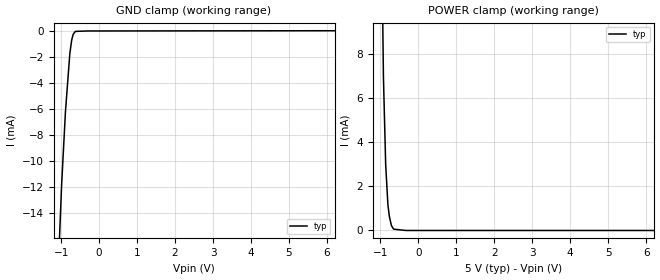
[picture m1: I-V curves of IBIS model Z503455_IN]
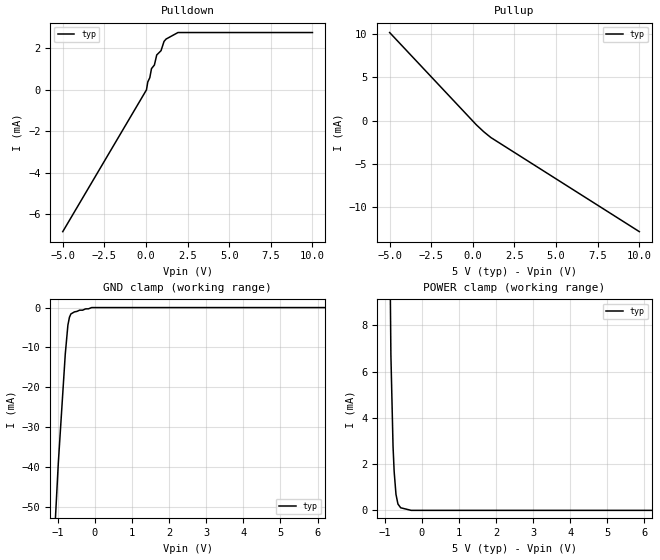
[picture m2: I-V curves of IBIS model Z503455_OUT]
| YOU ARE ONLY AUTHORIZED TO USE THIS SOFTWARE
| ACCORDING TO LICENSOR'S LICENSE RESTRICTIONS.
[IBIS Ver] 3.1
[File Name] mc14001bd.ibs
[File Rev] 2.0
[Source] Measured and created by ICX Technology
[Date] Friday 7/14/00 9:07:50 AM
[Copyright]
| (C) COPYRIGHT 1993-2000
| MENTOR GRAPHICS CORPORATION
| ICX STANDARD LIBRARY, ICX PROJECT MODELING,
| ICX CUSTOM MODELING, ICX VENDOR MODEL
| ALL RIGHTS RESERVED.
| THE FOLLOWING ARE TRADEMARKS OR SERVICE MARKS OF
| MENTOR GRAPHICS CORPORATION:ICX (R), ICX STANDARD
| LIBRARY(R), ICX PROJECT MODELING(R), ICX CUSTOM
| MODELING(R), qualityIBIS(TM), MODELVIEWER(TM),
| AND MODELEDITOR(TM)
| ALL COPIES OF SOFTWARE, INCLUDING BUT NOT LIMITED TO
| ANY MODIFICATIONS, ENHANCEMENTS OR DERIVATIVE WORKS,
| MUST CONTAIN ALL MENTOR GRAPHICS CORPORATION'S
| NOTICES AND LEGENDS, INCLUDING THOSE EMBEDDED IN
| SOFTWARE AND THOSE AFFIXED TO SOFTWARE MEDIUM
| AND CONTAINER, AS RECEIVED FROM MENTOR GRAPHICS
| CORPORATION.
|  ZAP Model Builder 2.7
[Component] MC14001BD
[Manufacturer] OnSemiconductor
[Package]
| variable   typ   min   max
R_pkg  .21ohms NA NA
L_pkg  4.543nH NA NA
C_pkg  1.8pF NA NA
[Pin] signal_name  model_name  R_pin  L_pin C_pin
1 IN1A Z503455_IN .22 6.757n 2.434p
2 IN2A Z503455_IN .212 4.757n 1.941p
3 OUTA Z503455_OUT .204 3.257n 1.448p
4 OUTB Z503455_OUT .196 2.257n .955p
5 IN1B Z503455_IN .204 3.257n 1.448p
6 IN2B Z503455_IN .212 4.757n 1.941p
7 VSS GND .22 6.757n 2.434p
8 IN1C Z503455_IN .22 6.757n 2.434p
9 IN2C Z503455_IN .212 4.757n 1.941p
10 OUTC Z503455_OUT .204 3.257n 1.448p
11 OUTD Z503455_OUT .196 2.257n .955p
12 IN1D Z503455_IN .204 3.257n 1.448p
13 IN2D Z503455_IN .212 4.757n 1.941p
14 VDD POWER .22 6.757n 2.434p
| Models and submodels in the file (2): Z503455_IN (Input), Z503455_OUT (Output)
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| (C) COPYRIGHT 1993-2000
| MENTOR GRAPHICS CORPORATION
| ICX STANDARD LIBRARY, ICX PROJECT MODELING,
| ICX CUSTOM MODELING, ICX VENDOR MODEL
| ALL RIGHTS RESERVED.
| THE FOLLOWING ARE TRADEMARKS OR SERVICE MARKS OF
| MENTOR GRAPHICS CORPORATION:ICX (R), ICX STANDARD
| LIBRARY(R), ICX PROJECT MODELING(R), ICX CUSTOM
| MODELING(R), qualityIBIS(TM), MODELVIEWER(TM),
| AND MODELEDITOR(TM)
| ALL COPIES OF SOFTWARE, INCLUDING BUT NOT LIMITED TO
| ANY MODIFICATIONS, ENHANCEMENTS OR DERIVATIVE WORKS,
| MUST CONTAIN ALL MENTOR GRAPHICS CORPORATION'S
| NOTICES AND LEGENDS, INCLUDING THOSE EMBEDDED IN
| SOFTWARE AND THOSE AFFIXED TO SOFTWARE MEDIUM
| AND CONTAINER, AS RECEIVED FROM MENTOR GRAPHICS
| CORPORATION.
| Model Application Version 1.89 2/18/99.
[Model] Z503455_IN
Model_type Input
Vinl = 1.500V
Vinh = 3.500V
C_comp 4.000pF NA NA
| variable typ   min   max
[Voltage Range] 5.000V NA NA
[GND Clamp Reference] 0.000V NA NA
[POWER Clamp Reference] 5.000V NA NA
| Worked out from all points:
|   GND clamp passes 1 mA (typ) near -0.74 V on its own axis
|   POWER clamp passes 1 mA (typ) near -0.79 V on its own axis
[GND Clamp]
-5V       -544.7mA   NA         NA
-1.226V   -33.63mA   NA         NA
-1.079V   -18.49mA   NA         NA
-986.3mV  -11.78mA   NA         NA
-886mV    -6.2mA     NA         NA
-771.4mV  -1.768mA   NA         NA
-722.7mV  -722.4uA   NA         NA
-683.6mV  -278.3uA   NA         NA
-625.3mV  -44.7uA    NA         NA
-312.6mV  -12.34uA   NA         NA
10V       19.16uA    NA         NA
[POWER Clamp]
-5V       1.262A     NA         NA
-1.093V   39.19mA    NA         NA
-1.009V   19.85mA    NA         NA
-918mV    6.974mA    NA         NA
-859mV    3.005mA    NA         NA
-800mV    1.163mA    NA         NA
-762mV    637.4uA    NA         NA
-707mV    219.8uA    NA         NA
-649mV    59.45uA    NA         NA
-324.5mV  0A         NA         NA
10V       0A         NA         NA
| (C) COPYRIGHT 1993-2000
| MENTOR GRAPHICS CORPORATION
| ICX STANDARD LIBRARY, ICX PROJECT MODELING,
| ICX CUSTOM MODELING, ICX VENDOR MODEL
| ALL RIGHTS RESERVED.
| THE FOLLOWING ARE TRADEMARKS OR SERVICE MARKS OF
| MENTOR GRAPHICS CORPORATION:ICX (R), ICX STANDARD
| LIBRARY(R), ICX PROJECT MODELING(R), ICX CUSTOM
| MODELING(R), qualityIBIS(TM), MODELVIEWER(TM),
| AND MODELEDITOR(TM)
| ALL COPIES OF SOFTWARE, INCLUDING BUT NOT LIMITED TO
| ANY MODIFICATIONS, ENHANCEMENTS OR DERIVATIVE WORKS,
| MUST CONTAIN ALL MENTOR GRAPHICS CORPORATION'S
| NOTICES AND LEGENDS, INCLUDING THOSE EMBEDDED IN
| SOFTWARE AND THOSE AFFIXED TO SOFTWARE MEDIUM
| AND CONTAINER, AS RECEIVED FROM MENTOR GRAPHICS
| CORPORATION.
| Model Application Version 1.89 2/18/99.
[Model] Z503455_OUT
Model_type Output
Vref=0.000V
Rref=500.0Mohms
Cref=50.00pF
Vmeas=2.500V
C_comp 8.000pF NA NA
| variable typ   min   max
[Voltage Range] 5.000V NA NA
[POWER Clamp Reference] 5.000V NA NA
[Pullup Reference] 5.000V NA NA
[Pulldown Reference] 0.000V NA NA
[GND Clamp Reference] 0.000V NA NA
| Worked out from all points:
|   slope of the pulldown table from 0 to 0.75 V, typ, clamps not added: 416 ohm
|   slope of the pullup table from 0 to 0.75 V, typ, clamps not added: 541 ohm
|   GND clamp passes 1 mA (typ) near -0.50 V on its own axis
|   POWER clamp passes 1 mA (typ) near -0.71 V on its own axis
[GND Clamp]
-5V       -756mA     NA         NA
-984.3mV  -39.11mA   NA         NA
-795.7mV  -11.62mA   NA         NA
-725.1mV  -4.383mA   NA         NA
-683.6mV  -2.432mA   NA         NA
-644.6mV  -1.597mA   NA         NA
-547.4mV  -1.076mA   NA         NA
-85.25mV  0A         NA         NA
10V       0A         NA         NA
[Pulldown]
-5V       -6.843mA   NA         NA
29.3mV    -10.39uA   NA         NA
107mV     368uA      NA         NA
228.8mV   574.7uA    NA         NA
330.5mV   1.012mA    NA         NA
505.4mV   1.186mA    NA         NA
644.5mV   1.669mA    NA         NA
903.3mV   1.876mA    NA         NA
1.084V    2.323mA    NA         NA
1.206V    2.436mA    NA         NA
1.92V     2.75mA     NA         NA
10V       2.75mA     NA         NA
[Pullup]
-5V       10.21mA    NA         NA
215mV     -499.6uA   NA         NA
665mV     -1.31mA    NA         NA
1.079V    -1.959mA   NA         NA
10V       -12.87mA   NA         NA
[POWER Clamp]
-5V       728.7mA    NA         NA
-830mV    6.744mA    NA         NA
-772mV    2.77mA     NA         NA
-742mV    1.68mA     NA         NA
-693mV    693.8uA    NA         NA
-640mV    274.6uA    NA         NA
-566mV    111.5uA    NA         NA
-283mV    0A         NA         NA
10V       0A         NA         NA
[Ramp]
| variable typ min max
dV/dt_r 2.455/18.71n NA NA
dV/dt_f 2.455/14.31n NA NA
R_load = 2.500kOhms
